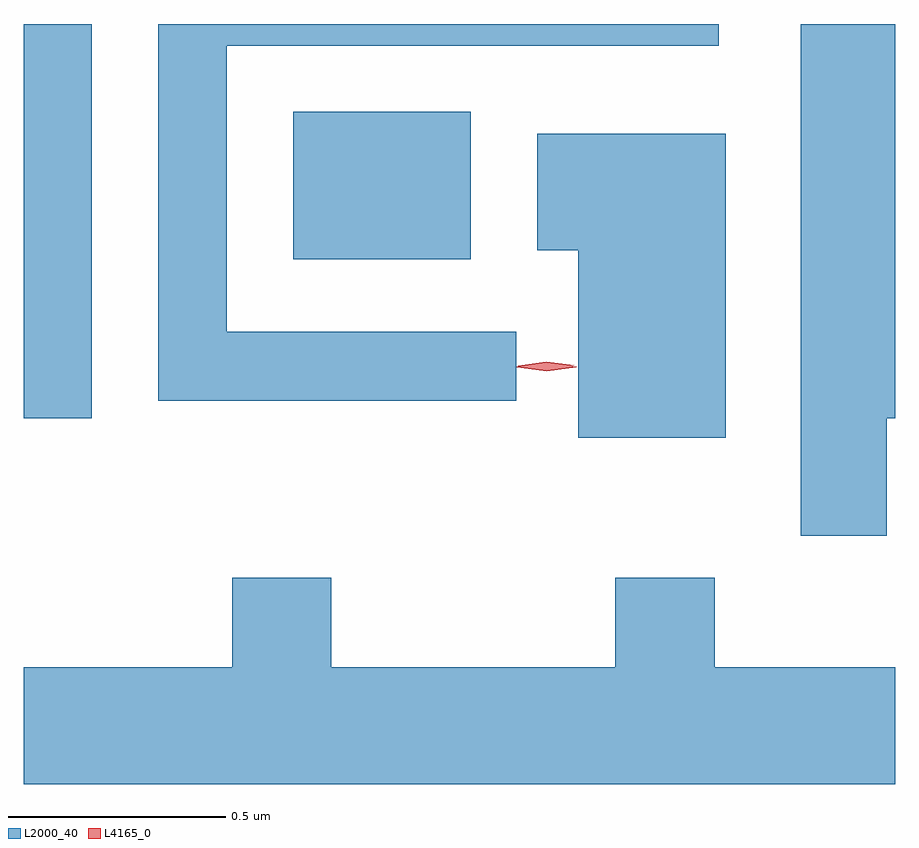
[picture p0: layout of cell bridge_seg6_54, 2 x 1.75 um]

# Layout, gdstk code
import gdstk
lib = gdstk.Library(unit=1e-6, precision=1e-09)
def R(c, l, rs):  # rectangles x0, y0, x1, y1
    for r in rs: c.add(gdstk.rectangle(r[:2], r[2:], *l))
def P(c, l, *ps):  # polygons
    for p in ps: c.add(gdstk.Polygon(p, *l))
L2000_40 = (2000, 40)
L4165_0 = (4165, 0)

bridge_seg6_54 = lib.new_cell('bridge_seg6_54')
R(bridge_seg6_54, L2000_40, [(1506.663,1604.156,1506.819,1605.061), (1507.281,1604.521,1507.689,1604.859)])
P(bridge_seg6_54, L2000_40, [(1507.793,1604.354),(1507.129,1604.354),(1507.129,1605.011),(1508.258,1605.011),(1508.258,1605.061),(1506.971,1605.061),(1506.971,1604.196),(1507.793,1604.196)],
  [(1508.644,1604.156),(1508.663,1604.156),(1508.663,1605.061),(1508.446,1605.061),(1508.446,1603.886),(1508.644,1603.886)],
  [(1508.274,1604.809),(1507.841,1604.809),(1507.841,1604.541),(1507.936,1604.541),(1507.936,1604.111),(1508.274,1604.111)],
  [(1508.663,1603.584),(1508.249,1603.584),(1508.249,1603.789),(1508.021,1603.789),(1508.021,1603.584),(1507.369,1603.584),(1507.369,1603.789),(1507.141,1603.789),(1507.141,1603.584),(1506.663,1603.584),(1506.663,1603.316),(1508.663,1603.316)])
P(bridge_seg6_54, L4165_0, [(1507.863,1604.264),(1507.795,1604.273),(1507.794,1604.274),(1507.795,1604.274),(1507.863,1604.284),(1507.931,1604.274),(1507.932,1604.274),(1507.931,1604.273)],
  [(1507.862,1604.267),(1507.798,1604.275),(1507.798,1604.275),(1507.798,1604.276),(1507.862,1604.286),(1507.926,1604.278),(1507.926,1604.278),(1507.926,1604.277)])

lib.write_gds('bridge_seg6_54.gds')
